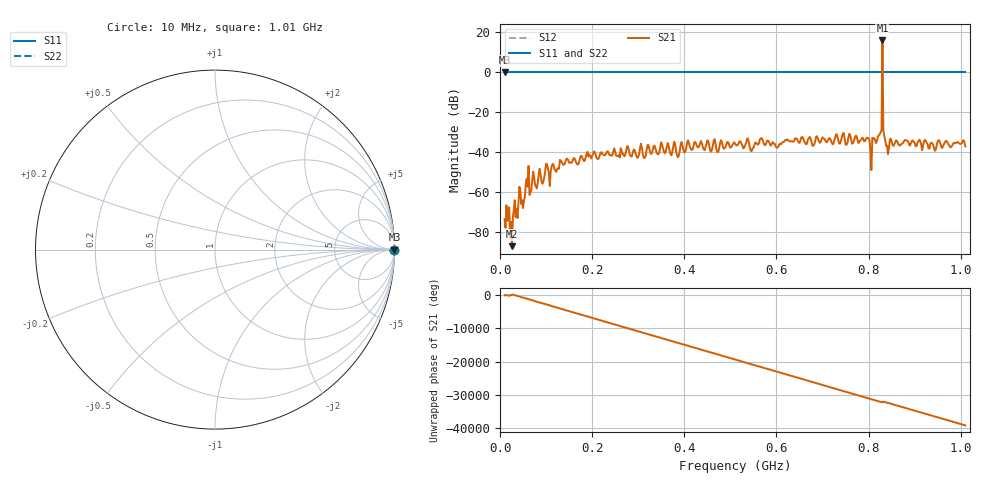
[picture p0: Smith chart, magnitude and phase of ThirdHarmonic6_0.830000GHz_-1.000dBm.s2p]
! 8/16/2025 3:33:49 AM
! C:\ANRITSUVNA\TEMP\TEMP.S2P
! CHANNEL.1
! TR.MEASUREMENT
! RAW.DATA
! RF.CORRECTION.OFF
! AVERAGING.OFF
! IF.BANDWIDTH: 5KHZ
! SWEEPTYPE:  FREQ.SWEEP(Linear)
! Reference Plane Port Info
! PORT:  PORT1  PORT2
! DISTANCE:  0  m  0  m
! TIME:  0  s  0  s
! PHASE.OFFSET:  0  deg.  0  deg.
! LOSS:  0  dB  0  dB
! REF.LOSS:  0  dB  0  dB
! REF.FREQ:  0  Hz  0  Hz
! Power Info
! POWER:  -20  dBm  -20  dBm
! EFF.POWER:  -20  dBm  -20  dBm
! SOURCE.ATTEN:  0  dB  0  dB
! TEST.ATTEN:  0  dB  0  dB
# GHZ S RI R 50.0
! FREQ.GHZ  S11RE  S11IM  S21RE  S21IM  S12RE  S12IM  S22RE  S22IM
!; PortSelection: Port_12
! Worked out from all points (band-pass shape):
!   501 points, 10 MHz to 1.01 GHz, reference 50 ohm
!   highest |S21| = 15.93 dB at 830 MHz (marker M1); lowest = -87.0 dB at 26 MHz (marker M2)
!   |S21| within 3 dB of the highest: 829.8667 MHz to 830.1325 MHz (265.9 kHz wide, 0.032 % of centre)
!   lowest |S11| = 0.0 dB at 10 MHz (marker M3)
!   |S11| at or under -10 dB: nowhere
!   |S22| runs from 0.0 to 0.0 dB; largest |S21 - S12| = 7
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0.01  1 0  0.000114 -0.000179  1 0  1 0
0.026  1 0  -3.71e-05 2.52e-05  1 0  1 0
0.044  1 0  -0.000908 -0.000702  1 0  1 0
0.05  1 0  0.000326 -0.000236  1 0  1 0
0.058  1 0  0.00217 0.000426  1 0  1 0
0.078  1 0  6.16e-05 -0.0014  1 0  1 0
0.102  1 0  0.00495 0.000701  1 0  1 0
0.108  1 0  -0.000805 -0.00118  1 0  1 0
0.178  1 0  -0.00765 0.00156  1 0  1 0
0.344  1 0  0.007 -0.00556  1 0  1 0
0.51  1 0  -0.00358 0.0164  1 0  1 0
0.678  1 0  -0.0142 0.00412  1 0  1 0
0.744  1 0  0.0247 0.0156  1 0  1 0
0.798  1 0  0.0231 0.00091  1 0  1 0
0.806  1 0  0.0034 -0.0011  1 0  1 0
0.824  1 0  0.0196 0.02  1 0  1 0
0.826  1 0  0.0248 -0.0189  1 0  1 0
0.83  1 0  -4.193 -4.642  1 0  1 0
0.834  1 0  0.0151 -0.0217  1 0  1 0
0.836  1 0  -0.0141 -0.0131  1 0  1 0
0.844  1 0  0.0105 -0.00681  1 0  1 0
1.01  1 0  0.0016 0.0139  1 0  1 0
